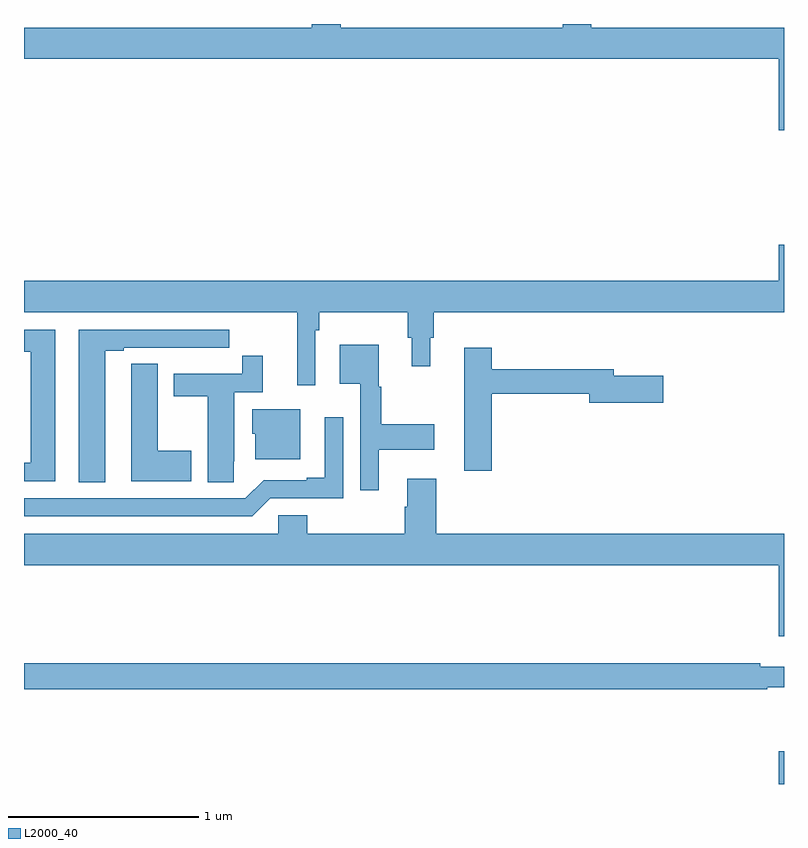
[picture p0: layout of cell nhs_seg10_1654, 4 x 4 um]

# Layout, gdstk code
import gdstk
lib = gdstk.Library(unit=1e-6, precision=1e-09)
def R(c, l, rs):  # rectangles x0, y0, x1, y1
    for r in rs: c.add(gdstk.rectangle(r[:2], r[2:], *l))
def P(c, l, *ps):  # polygons
    for p in ps: c.add(gdstk.Polygon(p, *l))
L2000_40 = (2000, 40)

nhs_seg10_1654 = lib.new_cell('nhs_seg10_1654')
R(nhs_seg10_1654, L2000_40, [(200.972,1296.5,201,1296.673)])
P(nhs_seg10_1654, L2000_40, [(201,1300.48),(199.986,1300.48),(199.986,1300.5),(199.835,1300.5),(199.835,1300.48),(198.667,1300.48),(198.667,1300.5),(198.515,1300.5),(198.515,1300.48),(197,1300.48),(197,1300.316),(200.972,1300.316),(200.972,1299.942),(201,1299.942)],
  [(198.534,1298.888),(198.554,1298.888),(198.554,1298.984),(199.021,1298.984),(199.021,1298.85),(199.04,1298.85),(199.04,1298.7),(199.138,1298.7),(199.138,1298.85),(199.157,1298.85),(199.157,1298.984),(201,1298.984),(201,1299.337),(200.972,1299.337),(200.972,1299.148),(197,1299.148),(197,1298.984),(198.437,1298.984),(198.437,1298.598),(198.534,1298.598)],
  [(197.428,1298.781),(197.524,1298.781),(197.524,1298.796),(197.8,1298.796),(197.8,1298.795),(197.966,1298.795),(197.966,1298.796),(198.079,1298.796),(198.079,1298.892),(197.288,1298.892),(197.288,1298.089),(197.428,1298.089)],
  [(197.164,1298.892),(197,1298.892),(197,1298.776),(197.036,1298.776),(197.036,1298.19),(197,1298.19),(197,1298.094),(197.164,1298.094)],
  [(198.868,1298.258),(199.159,1298.258),(199.159,1298.393),(198.88,1298.393),(198.88,1298.592),(198.868,1298.592),(198.868,1298.812),(198.662,1298.812),(198.662,1298.606),(198.771,1298.606),(198.771,1298.046),(198.868,1298.046)],
  [(199.463,1298.554),(199.976,1298.554),(199.976,1298.507),(200.365,1298.507),(200.365,1298.649),(200.104,1298.649),(200.104,1298.683),(199.463,1298.683),(199.463,1298.797),(199.316,1298.797),(199.316,1298.148),(199.463,1298.148)],
  [(198.105,1298.2),(198.106,1298.2),(198.106,1298.562),(198.257,1298.562),(198.257,1298.755),(198.148,1298.755),(198.148,1298.658),(197.789,1298.658),(197.789,1298.542),(197.966,1298.542),(197.966,1298.089),(198.105,1298.089)],
  [(197.881,1298.253),(197.704,1298.253),(197.704,1298.711),(197.565,1298.711),(197.565,1298.603),(197.564,1298.603),(197.564,1298.093),(197.881,1298.093)],
  [(198.454,1298.473),(198.2,1298.473),(198.2,1298.343),(198.218,1298.343),(198.218,1298.21),(198.454,1298.21)],
  [(198.297,1298.004),(198.681,1298.004),(198.681,1298.431),(198.584,1298.431),(198.584,1298.113),(198.488,1298.113),(198.488,1298.1),(198.261,1298.1),(198.165,1298.004),(197,1298.004),(197,1297.908),(198.201,1297.908)],
  [(201,1297.816),(199.169,1297.816),(199.169,1298.107),(199.016,1298.107),(199.016,1297.958),(199.004,1297.958),(199.004,1297.816),(198.491,1297.816),(198.491,1297.914),(198.339,1297.914),(198.339,1297.816),(197,1297.816),(197,1297.652),(200.972,1297.652),(200.972,1297.278),(201,1297.278)],
  [(200.911,1297.008),(201,1297.008),(201,1297.117),(200.876,1297.117),(200.876,1297.136),(197,1297.136),(197,1297),(200.911,1297)])

lib.write_gds('nhs_seg10_1654.gds')
